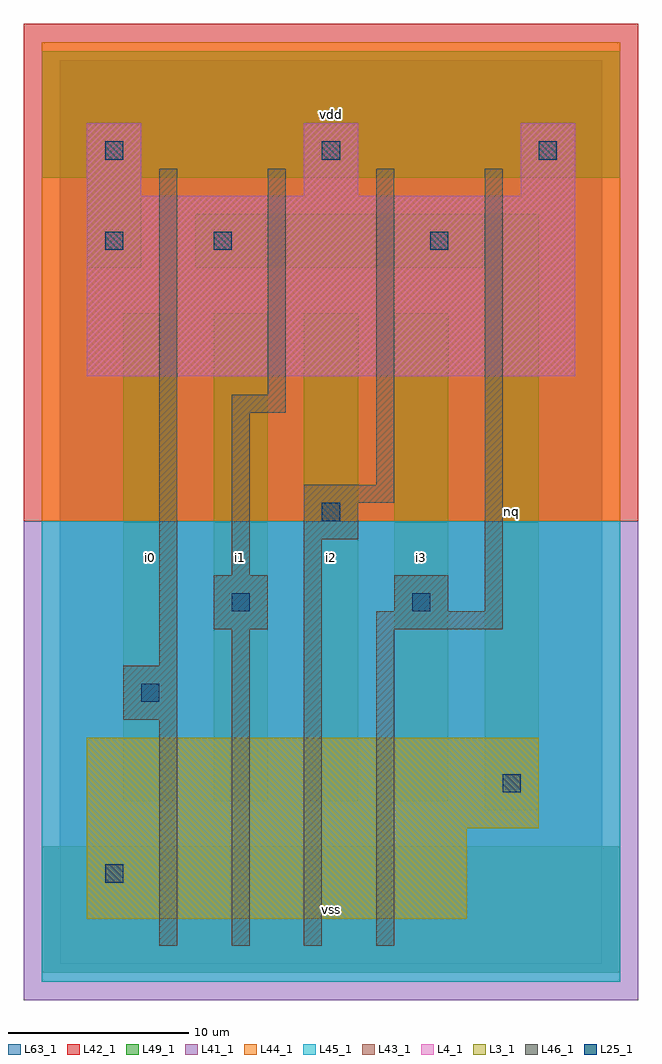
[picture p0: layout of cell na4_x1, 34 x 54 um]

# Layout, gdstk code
import gdstk
lib = gdstk.Library(unit=1e-6, precision=1e-09)
def R(c, l, rs):  # rectangles x0, y0, x1, y1
    for r in rs: c.add(gdstk.rectangle(r[:2], r[2:], *l))
def A(c, l, x, y, w, h, nx, ny, dx, dy):  # array of equal rectangles
    R(c, l, [(x+i*dx, y+j*dy, x+i*dx+w, y+j*dy+h) for i in range(nx) for j in range(ny)])
L3_1 = (3, 1)
L4_1 = (4, 1)
L25_1 = (25, 1)
L41_1 = (41, 1)
L42_1 = (42, 1)
L43_1 = (43, 1)
L44_1 = (44, 1)
L45_1 = (45, 1)
L46_1 = (46, 1)
L49_1 = (49, 1)
L63_1 = (63, 1)

na4_x1 = lib.new_cell('na4_x1')
R(na4_x1, L3_1, [(1.5,2.5,22.5,7.5), (1.5,7.5,26.5,12.5)])
A(na4_x1, L4_1, 1.5, 42.5, 3, 4, 3, 1, 12, 0)
R(na4_x1, L4_1, [(1.5,32.5,28.5,42.5)])
A(na4_x1, L25_1, 2.5, 44.5, 1, 1, 3, 1, 12, 0)
R(na4_x1, L25_1, [(2.5,4.5,3.5,5.5), (24.5,9.5,25.5,10.5), (4.5,14.5,5.5,15.5), (9.5,19.5,10.5,20.5), (19.5,19.5,20.5,20.5), (14.5,24.5,15.5,25.5), (2.5,39.5,3.5,40.5), (8.5,39.5,9.5,40.5), (20.5,39.5,21.5,40.5)])
R(na4_x1, L41_1, [(-2,-2,32,24.5)])
R(na4_x1, L42_1, [(-2,24.5,32,52)])
A(na4_x1, L43_1, 1.5, 42.5, 3, 4, 3, 1, 12, 0)
R(na4_x1, L43_1, [(1.5,2.5,22.5,7.5), (1.5,7.5,26.5,12.5), (1.5,32.5,28.5,42.5)])
R(na4_x1, L44_1, [(-1,24.5,31,51)])
R(na4_x1, L45_1, [(-1,-1,31,24.5)])
R(na4_x1, L46_1, [(5.5,1,6.5,13.5), (9.5,1,10.5,18.5), (13.5,1,14.5,23.5), (17.5,1,18.5,18.5), (3.5,13.5,6.5,16.5), (5.5,16.5,6.5,44), (8.5,18.5,11.5,21.5), (17.5,18.5,24.5,19.5), (18.5,19.5,21.5,21.5), (23.5,19.5,24.5,44), (9.5,21.5,10.5,30.5), (13.5,23.5,16.5,25.5), (13.5,25.5,18.5,26.5), (17.5,26.5,18.5,44), (9.5,30.5,12.5,31.5), (11.5,31.5,12.5,44)])
A(na4_x1, L49_1, 3.5, 9, 3, 27, 4, 1, 5, 0)
R(na4_x1, L49_1, [(-1,-0.5,31,6.5), (23.5,8.5,26.5,38.5), (1.5,38.5,4.5,43.5), (7.5,38.5,26.5,41.5), (-1,43.5,31,50.5)])
R(na4_x1, L63_1, [(0,0,30,50)])
na4_x1.add(gdstk.Label('i0', (5,22.5), layer=49, texttype=1))
na4_x1.add(gdstk.Label('i0', (5,22.5), layer=49, texttype=1))
na4_x1.add(gdstk.Label('i1', (10,22.5), layer=49, texttype=1))
na4_x1.add(gdstk.Label('i1', (10,22.5), layer=49, texttype=1))
na4_x1.add(gdstk.Label('vss', (15,3), layer=49, texttype=1))
na4_x1.add(gdstk.Label('vss', (15,3), layer=49, texttype=1))
na4_x1.add(gdstk.Label('i2', (15,22.5), layer=49, texttype=1))
na4_x1.add(gdstk.Label('i2', (15,22.5), layer=49, texttype=1))
na4_x1.add(gdstk.Label('i3', (20,22.5), layer=49, texttype=1))
na4_x1.add(gdstk.Label('i3', (20,22.5), layer=49, texttype=1))
na4_x1.add(gdstk.Label('vdd', (15,47), layer=49, texttype=1))
na4_x1.add(gdstk.Label('vdd', (15,47), layer=49, texttype=1))
na4_x1.add(gdstk.Label('nq', (25,25), layer=49, texttype=1))
na4_x1.add(gdstk.Label('nq', (25,25), layer=49, texttype=1))

lib.write_gds('na4_x1.gds')
